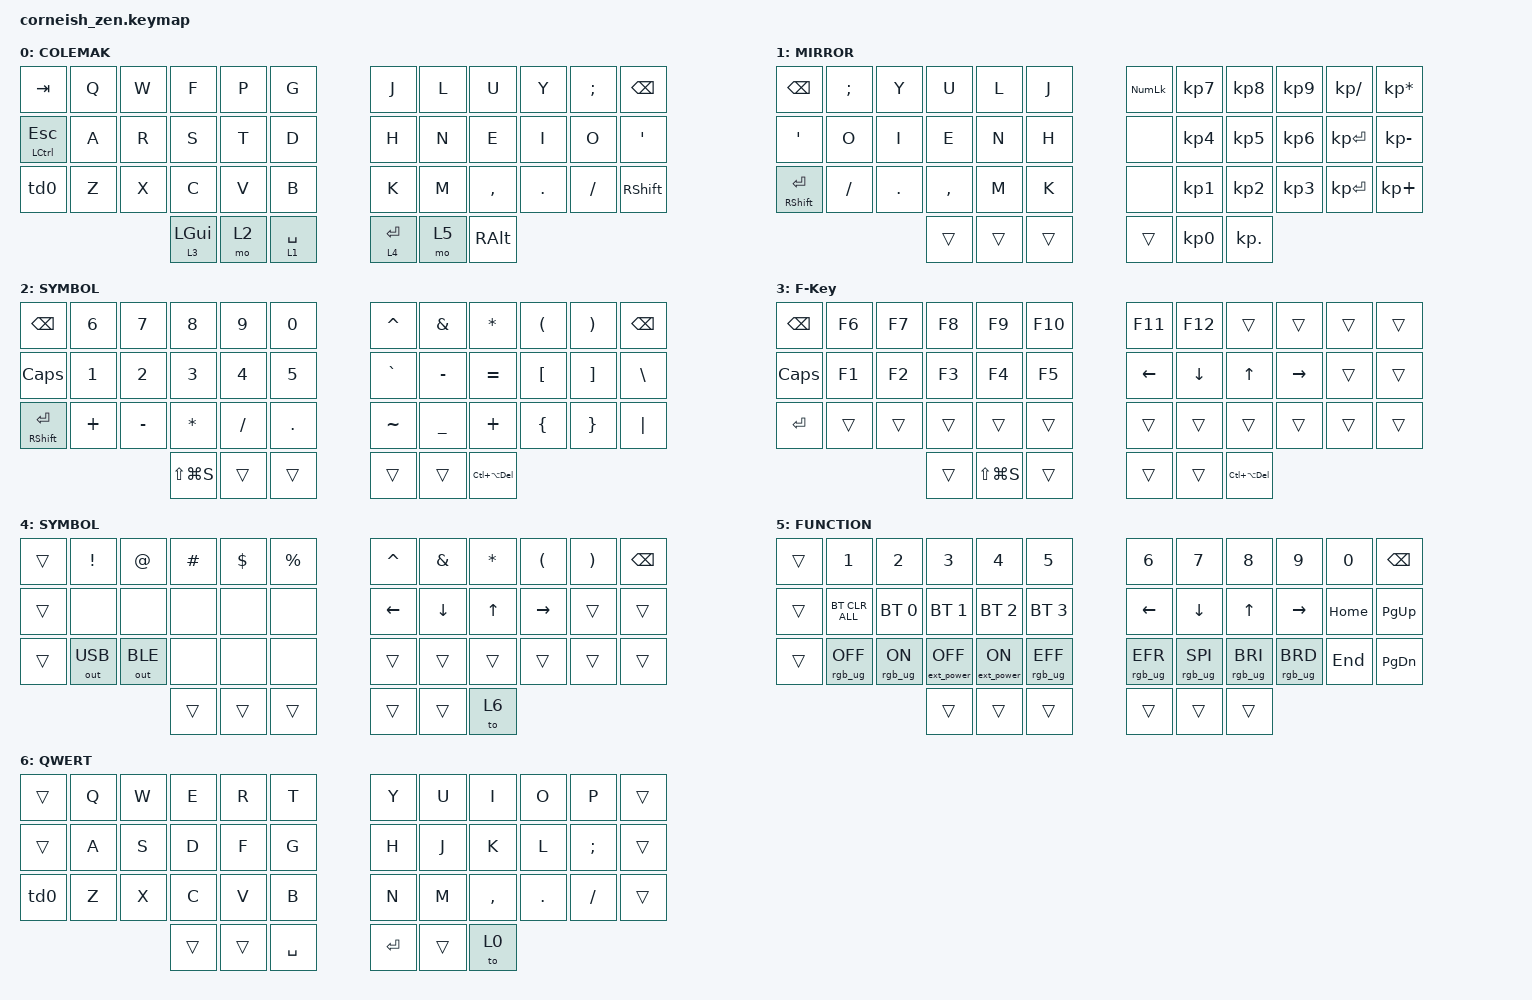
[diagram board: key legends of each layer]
/*
 * Copyright (c) 2020 The ZMK Contributors
 *
 * SPDX-License-Identifier: MIT
 */

#include <behaviors.dtsi>
#include <dt-bindings/zmk/bt.h>
#include <dt-bindings/zmk/ext_power.h>
#include <dt-bindings/zmk/keys.h>
#include <dt-bindings/zmk/outputs.h>
#include <dt-bindings/zmk/rgb.h>

/ {
    chosen {
        zmk,matrix_transform = &default_transform;

        // zmk,matrix_transform = &five_column_transform;
    };
};

/ {
    behaviors {
        td0: td0 {
            compatible = "zmk,behavior-tap-dance";
            label = "TD0";
            #binding-cells = <0>;
            bindings = <&kp LEFT_SHIFT>, <&kp CAPS>;
        };
    };

    keymap {
        compatible = "zmk,keymap";

        default_layer {
            display-name = "COLEMAK";

            // --------------------------------------------------------------------------------
            // |  TAB |  Q  |  W  |  E  |  R  |  T  |   |  Y  |  U   |  I  |  O  |  P  | BKSP |
            // | CTRL |  A  |  S  |  D  |  F  |  G  |   |  H  |  J   |  K  |  L  |  ;  |  '   | 
            // | SHFT |  Z  |  X  |  C  |  V  |  B  |   |  N  |  M   |  ,  |  .  |  /  | ESC  |
            //                    | GUI | LWR | SPC |   | ENT | RSE  | ALT |

            bindings = <
&kp TAB           &kp Q  &kp W  &kp F           &kp P  &kp G          &kp J        &kp L  &kp U      &kp Y    &kp SEMICOLON  &kp BSPC
&mt LCTRL ESCAPE  &kp A  &kp R  &kp S           &kp T  &kp D          &kp H        &kp N  &kp E      &kp I    &kp O          &kp SQT
&td0              &kp Z  &kp X  &kp C           &kp V  &kp B          &kp K        &kp M  &kp COMMA  &kp DOT  &kp FSLH       &kp RSHFT
                                &lt 3 LEFT_GUI  &mo 2  &lt 1 SPACE    &lt 4 ENTER  &mo 5  &kp RALT
            >;
        };

        layer_1 {
            display-name = "MIRROR";

            // -----------------------------------------------------------------------------------------
            // |  TAB |  1  |  2  |  3  |  4  |  5  |   |  6  |  7  |  8  |  9  |  0  | BKSP |
            // | BTCLR| BT1 | BT2 | BT3 | BT4 | BT5 |   | LFT | DWN |  UP | RGT |     |      |
            // | SHFT |     |     |     |     |     |   |     |     |     |     |     |      |
            //                    | GUI |     | SPC |   | ENT |     | ALT |

            bindings = <
&kp BACKSPACE    &kp SEMI   &kp Y       &kp U      &kp L   &kp J     &kp KP_NUMLOCK  &kp KP_N7        &kp KP_N8   &kp KP_N9  &kp KP_DIVIDE  &kp KP_MULTIPLY
&kp APOS         &kp O      &kp I       &kp E      &kp N   &kp H     &none           &kp KP_NUMBER_4  &kp KP_N5   &kp KP_N6  &kp KP_ENTER   &kp KP_MINUS
&mt RSHFT ENTER  &kp SLASH  &kp PERIOD  &kp COMMA  &kp M   &kp K     &none           &kp KP_N1        &kp KP_N2   &kp KP_N3  &kp KP_ENTER   &kp KP_PLUS
                                        &trans     &trans  &trans    &trans          &kp KP_NUMBER_0  &kp KP_DOT
            >;
        };

        layer_2 {
            display-name = "SYMBOL";

            // -----------------------------------------------------------------------------------------
            // |  TAB |  !  |  @  |  #  |  $  |  %  |   |  ^  |  &  |  *  |  (  |  )  | BKSP |
            // | CTRL |     |     |     |     |     |   |  -  |  =  |  [  |  ]  |  \  |  `   |
            // | SHFT |     |     |     |     |     |   |  _  |  +  |  {  |  }  | "|" |  ~   |
            //                    | GUI |     | SPC |   | ENT |     | ALT |

            bindings = <
&kp BACKSPACE          &kp NUMBER_6  &kp N7        &kp N8         &kp N9        &kp N0     &kp CARET  &kp AMPS   &kp ASTRK        &kp LPAR          &kp RPAR           &kp BSPC
&kp CAPS               &kp NUMBER_1  &kp NUMBER_2  &kp NUMBER_3   &kp NUMBER_4  &kp N5     &kp GRAVE  &kp MINUS  &kp EQUAL        &kp LEFT_BRACKET  &kp RIGHT_BRACKET  &kp BACKSLASH
&mt RIGHT_SHIFT ENTER  &kp PLUS      &kp MINUS     &kp ASTRK      &kp SLASH     &kp DOT    &kp TILDE  &kp UNDER  &kp PLUS         &kp LEFT_BRACE    &kp RIGHT_BRACE    &kp PIPE
                                                   &kp LS(LG(S))  &trans        &trans     &trans     &trans     &kp LC(LA(DEL))
            >;
        };

        layer_3 {
            display-name = "F-Key";
            bindings = <
&kp BACKSPACE  &kp F6  &kp F7  &kp F8  &kp F9         &kp F10    &kp F11         &kp F12         &trans              &trans           &trans  &trans
&kp CAPS       &kp F1  &kp F2  &kp F3  &kp F4         &kp F5     &kp LEFT_ARROW  &kp DOWN_ARROW  &kp UP_ARROW        &kp RIGHT_ARROW  &trans  &trans
&kp ENTER      &trans  &trans  &trans  &trans         &trans     &trans          &trans          &trans              &trans           &trans  &trans
                               &trans  &kp LS(LG(S))  &trans     &trans          &trans          &kp LC(LA(DELETE))
            >;
        };

        layer_4 {
            display-name = "SYMBOL";
            bindings = <
&trans  &kp EXCL      &kp AT        &kp HASH  &kp DLLR  &kp PRCNT    &kp CARET       &kp AMPS        &kp ASTRK     &kp LPAR         &kp RPAR  &kp BSPC
&trans  &none         &none         &none     &none     &none        &kp LEFT_ARROW  &kp DOWN_ARROW  &kp UP_ARROW  &kp RIGHT_ARROW  &trans    &trans
&trans  &out OUT_USB  &out OUT_BLE  &none     &none     &none        &trans          &trans          &trans        &trans           &trans    &trans
                                    &trans    &trans    &trans       &trans          &trans          &to 6
            >;
        };

        layer_5 {
            display-name = "FUNCTION";
            bindings = <
&trans  &kp N1           &kp N2          &kp N3             &kp N4            &kp N5             &kp N6           &kp N7           &kp N8           &kp N9           &kp N0    &kp BSPC
&trans  &bt BT_CLR_ALL   &bt BT_SEL 0    &bt BT_SEL 1       &bt BT_SEL 2      &bt BT_SEL 3       &kp LEFT_ARROW   &kp DOWN_ARROW   &kp UP_ARROW     &kp RIGHT_ARROW  &kp HOME  &kp PG_UP
&trans  &rgb_ug RGB_OFF  &rgb_ug RGB_ON  &ext_power EP_OFF  &ext_power EP_ON  &rgb_ug RGB_EFF    &rgb_ug RGB_EFR  &rgb_ug RGB_SPI  &rgb_ug RGB_BRI  &rgb_ug RGB_BRD  &kp END   &kp PG_DN
                                         &trans             &trans            &trans             &trans           &trans           &trans
            >;
        };

        layer_6 {
            bindings = <
&trans  &kp Q  &kp W  &kp E   &kp R   &kp T        &kp Y      &kp U   &kp I      &kp O    &kp P     &trans
&trans  &kp A  &kp S  &kp D   &kp F   &kp G        &kp H      &kp J   &kp K      &kp L    &kp SEMI  &trans
&td0    &kp Z  &kp X  &kp C   &kp V   &kp B        &kp N      &kp M   &kp COMMA  &kp DOT  &kp FSLH  &trans
                      &trans  &trans  &kp SPACE    &kp ENTER  &trans  &to 0
            >;

            label = "QWERT";
        };
    };
};
